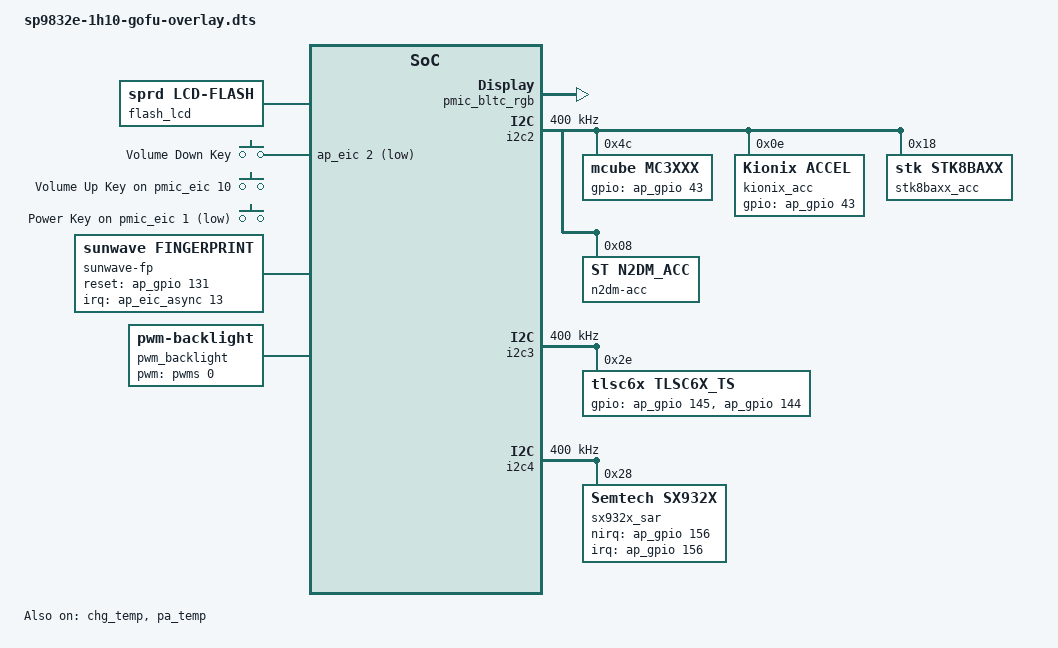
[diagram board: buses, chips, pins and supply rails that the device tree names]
/*
 * Spreadtrum sharkle sp9832e board DTS file
 *
 * Copyright (C) 2018, Spreadtrum Communications Inc.
 *
 * This file is licensed under a dual GPLv2 or X11 license.
 */
/dts-v1/;
/plugin/;

/ {
	/*
	* When create a new node, we should use the key word __overlay__,
	* otherwise u-boot can not analyze it.
	*/

	fragment {
		target-path = "/";
		__overlay__ {
			sprd_overlay {
				compatible = "sprd,overlay";
				string = "spreadtrum overlay test!";
			};
			flash_lcd: flash-lcd {
				compatible = "sprd,lcd-flash";
				sprd,dispc = <&dispc0>;
				sprd,backlight = <&pwm_backlight>;
				status = "okay";
			};

			gpio_keys {
				compatible = "gpio-keys";
				input-name = "sprd-gpio-keys";
				status = "ok";

				key-volumndown {
					label = "Volume Down Key";
					linux,code = <114>;
					gpios = <&ap_eic 2 1>;
					debounce-interval = <2>;
					gpio-key,wakeup;
					gpio-key,level-trigger;
				};

				key-volumeup {
					label = "Volume Up Key";
					linux,code = <115>;
					gpios = <&pmic_eic 10 0>;
					debounce-interval = <2>;
					gpio-key,wakeup;
					gpio-key,level-trigger;
				};

				key-power {
					label = "Power Key";
					linux,code = <116>;
					gpios = <&pmic_eic 1 1>;
					gpio-key,wakeup;
					gpio-key,level-trigger;
				};
			};

			sunwave-fp {
				compatible = "sunwave,fingerprint";
				sunwave,reset-gpio = <&ap_gpio 131 0 >;
				sunwave,irq-gpio = <&ap_eic_async 13 0 >;
			};
			pwm_backlight: sprd_backlight {
				compatible = "pwm-backlight";
				pwms = <&pwms 0 20000>;
				pwm-names = "backlight";
				brightness_max = <256>;
				brightness-levels = <
								  6   6   6   6
					  6   6   6   6   6   6   6   7   8   9
					 10  11  12  13  14  15  16  17  18  19
					 20  21  22  23  24  25  26  27  28  29
					 30  31  32  33  34  35  36  37  38  39
					 40  41  42  43  44  45  46  47  48  49
					 50  51  52  53  54  55  56  57  58  59
					 60  61  62  63  64  65  66  67  68  69
					 70  71  72  73  74  75  76  77  78  79
					 80  81  82  83  84  85  86  87  88  89
					 90  91  92  93  94  95  96  97  98  99
					100 101 102 103 104 105 106 107 108 109
					110 111 112 113 114 115 116 117 118 119
					120 121 122 123 124 125 126 127 128 129
					130 131 132 133 134 135 136 137 138 139
					140 141 142 143 144 145 146 147 148 149
					150 151 152 153 154 155 156 157 158 159
					160 161 162 163 164 165 166 167 168 169
					170 171 172 173 174 175 176 177 178 179
					180 181 182 183 184 185 186 187 188 189
					190 191 192 193 194 195 196 197 198 199
					200 201 202 203 204 205 206 207 208 209
					210 211 212 213 214 215 216 217 218 219
					220 221 222 223 224 225 226 227 228 229
					230 231 232 233 234 235 236 237 238 239
					240 241 242 243 244 245 246 247 248 249
					250 251
					>;
				default-brightness-level = <29>;
			};
		};
	};
};

/*
 * Sample code. Google strongly recommends you do not use fragment@x and
 * syntax __overlay__, and instead use the reference syntax
*/
&memory {
	compatible = "sprd,memory-dtbo";
};

&pmic_bltc_rgb {
	status = "okay";
};

&i2c2 {
	status = "okay";
	clock-frequency = <400000>;
	mc3xxx@4c{
		compatible = "mcube,mc3xxx";
		reg = <0x4c>;
		gpios = <&ap_gpio 43 0>;
		poll_interval = <10>;
		min_interval = <1>;
		g_range = <0>;
		axis_maps_x = <0>;
		axis_maps_y = <1>;
		axis_maps_z = <2>;
		negate_x = <1>;
		negate_y = <1>;
		negate_z = <0>;
	};

	kionix_acc@0E{
		compatible = "Kionix,accel";
		reg = <0x0E>;
		poll_interval = <10>;
		min_interval = <10>;
		g_range = <0>;
		accel_res = <0>;
		accel_irq_use_drdy = <1>;
		accel_direction = <6>;
		gpios = <&ap_gpio 43 0>;
	};

	stk8baxx_acc@18{
		compatible = "stk,stk8baxx";
		reg = <0x18>;
		stk,direction = <1>;
	};

	n2dm-acc@8{
		compatible = "ST,n2dm_acc";
		reg = <0x08>;
		poll_interval = <10>;
		min_interval = <10>;
		g_range = <0>;
		axis_map_x = <0>;
		axis_map_y = <1>;
		axis_map_z = <2>;
		negate_x = <1>;
		negate_y = <0>;
		negate_z = <0>;
	};
};

&i2c3 {
	clock-frequency = <400000>;
	status = "okay";

	tlsc6x_ts@2e {
		compatible = "tlsc6x,tlsc6x_ts";
		reg = <0x2e>;
		gpios = <&ap_gpio 145 0
			&ap_gpio 144 0>;
		vdd_name = "vdd28";
		TP_MAX_X = <480>;
		TP_MAX_Y = <960>;
	};
};

&i2c4 {
	clock-frequency = <400000>;
	status = "okay";

	sx932x_sar:sar@28 {
		compatible = "Semtech,sx932x";
		reg = <0x28>;
		interrupt-parent = <&ap_gpio>;
		interrupts = <156 0>;
		Semtech,nirq-gpio = <&ap_gpio 156 0>;
	};
};

&ddr_dfs {
	sprd-scene = "lcdon", "lcdoff", "camlow", "camhigh";
	sprd-freq = <256 256 384 667>;
};

&chg_temp {
	status = "okay";
};

&pa_temp {
	status = "okay";
};
